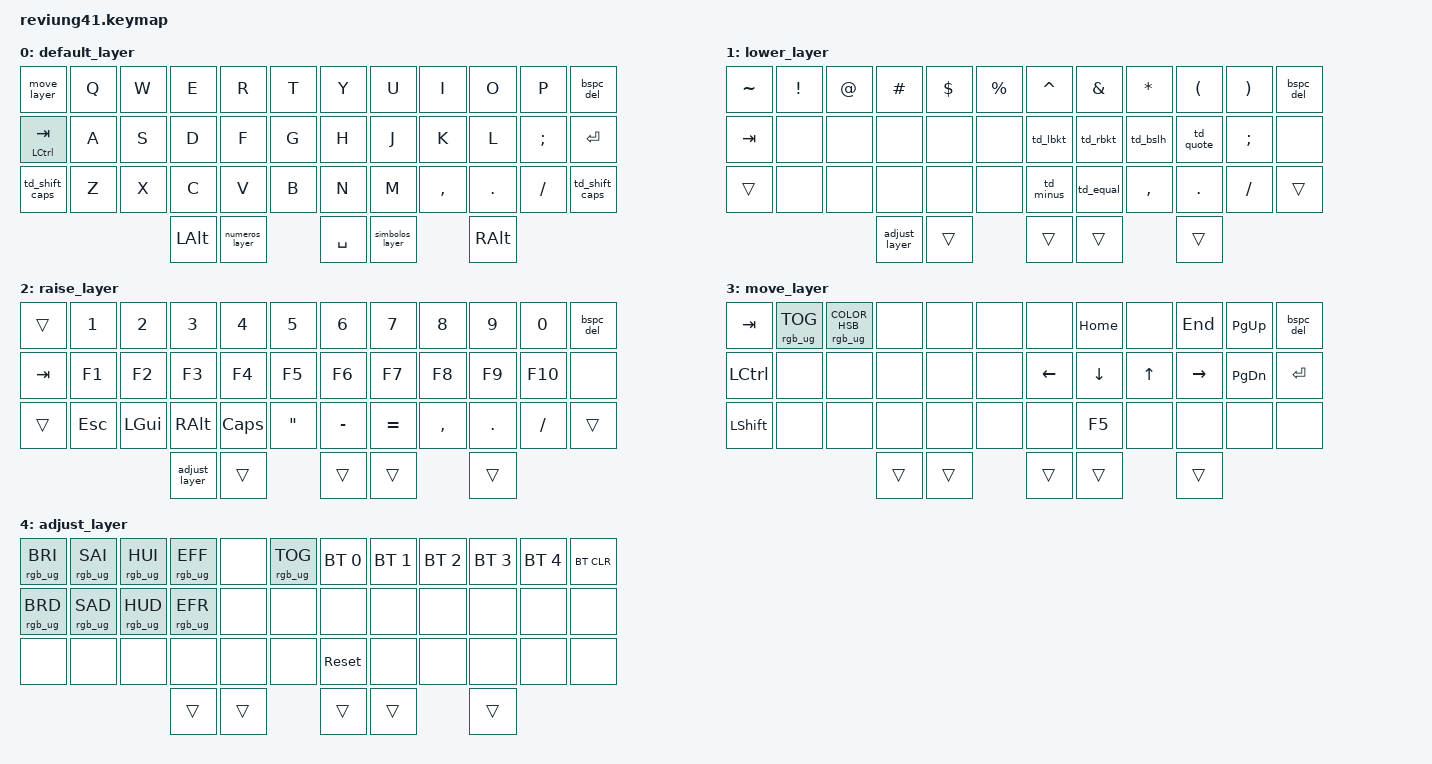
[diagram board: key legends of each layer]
/*
 * Copyright (c) 2020 The ZMK Contributors
 *
 * SPDX-License-Identifier: MIT
 */

#include <behaviors.dtsi>
#include <dt-bindings/zmk/keys.h>
#include <dt-bindings/zmk/bt.h>
#include <dt-bindings/zmk/rgb.h>

#define DEFAULT 0
#define SYMBOL  1
#define NUMBER  2
#define MOVE    3
#define ADJUST  4


/ {

 macros {
        simbolos_layer: simbolos_layer {
            compatible = "zmk,behavior-macro";
            #binding-cells = <0>;
            bindings =
                <&macro_press>,
                <&mo 1>,
                <&macro_tap>,
                <&rgb_ug RGB_ON &rgb_ug RGB_COLOR_HSB(240,100,100)>,
                <&macro_pause_for_release>,
                <&macro_release>,
                <&mo 1>,
                <&macro_tap>,
                <&rgb_ug RGB_OFF>;

            label = "LOWER_LAYER";
        };

        numeros_layer: raise_layer {
            compatible = "zmk,behavior-macro";
            #binding-cells = <0>;
            bindings =
                <&macro_press>,
                <&mo 2>,
                <&macro_tap>,
                <&rgb_ug RGB_ON &rgb_ug RGB_COLOR_HSB(0,100,100)>,
                <&macro_pause_for_release>,
                <&macro_release>,
                <&mo 2>,
                <&macro_tap>,
                <&rgb_ug RGB_OFF>;

            label = "RAISE_LAYER";
        };

        adjust_layer: adjust_layer {
            compatible = "zmk,behavior-macro";
            #binding-cells = <0>;
            bindings =
                <&macro_press>,
                <&mo 4>,
                <&macro_tap>,
                <&rgb_ug RGB_ON &rgb_ug RGB_COLOR_HSB(285,100,80)>,
                <&macro_pause_for_release>,
                <&macro_release>,
                <&mo 4>,
                <&macro_tap>,
                <&rgb_ug RGB_OFF>;

            label = "ADJUST_LAYER";
        };

        move_layer: move_layer {
            compatible = "zmk,behavior-macro";
            #binding-cells = <0>;
            bindings =
                <&macro_press>,
                <&tog 3 &rgb_ug RGB_ON &rgb_ug RGB_COLOR_HSB(0,0,100)>,
                <&macro_pause_for_release>,
                <&macro_release>,
                <&mo 3>,
                <&macro_tap>,
                <&rgb_ug RGB_OFF>;

            label = "MOVE_LAYER";
        };
        shift_con_led: shift_con_led {
            compatible = "zmk,behavior-macro";
            #binding-cells = <0>;
            bindings
                =  <&macro_press>,
                <&kp LSHIFT &rgb_ug RGB_ON &rgb_ug RGB_COLOR_HSB(128,100,100)>,
                <&macro_pause_for_release>,
                <&macro_release>,
                <&kp LSHIFT>,
                <&macro_tap>,
                <&rgb_ug RGB_OFF>;
                
        };
        CAPS_con_led: CAPS_con_led {
            compatible = "zmk,behavior-macro";
            #binding-cells = <0>;
            bindings
                =  <&macro_press>,
                <&kp CAPS &rgb_ug RGB_ON &rgb_ug RGB_COLOR_HSB(128,100,100)>,
                <&macro_pause_for_release>,
                <&macro_release>,
                <&kp CAPS>,
                <&macro_tap>,
                <&rgb_ug RGB_OFF>;
                
        };
    };
    /* === 2. Keymap === */

        keymap {
                compatible = "zmk,keymap";

                default_layer {
                        bindings = <
   &move_layer   &kp Q &kp W &kp E &kp R &kp T   &kp Y &kp U  &kp I     &kp O   &kp P    &bspc_del
   &mt LCTRL TAB  &kp A &kp S &kp D &kp F &kp G   &kp H &kp J  &kp K     &kp L   &kp SEMI &kp RET
   &td_shift_caps &kp Z &kp X &kp C &kp V &kp B   &kp N &kp M  &kp COMMA &kp DOT &kp FSLH &td_shift_caps
                        &kp LALT &numeros_layer &kp SPACE &simbolos_layer &kp RALT
                        >;
                };

                lower_layer {
                        bindings = <
   &kp TILDE  &kp EXCL  &kp AT      &kp HASH &kp DLLR &kp PRCNT      &kp CARET  &kp AMPS  &kp ASTRK  &kp LPAR            &kp RPAR  &bspc_del
   &kp TAB    &none     &none       &none    &none    &none          &td_lbkt &td_rbkt    &td_bslh   &td_quote           &kp SEMI  &none 
   &trans     &none     &none       &none    &none    &none          &td_minus  &td_equal &kp COMMA  &kp DOT             &kp SLASH &trans   
                                 &adjust_layer   &trans              &trans        &trans       &trans
                        >;
                };

                raise_layer {
                        bindings = <
   &trans  &kp N1    &kp N2    &kp N3    &kp N4    &kp N5        &kp N6    &kp N7    &kp N8      &kp N9  &kp N0    &bspc_del
   &kp TAB &kp F1    &kp F2    &kp F3    &kp F4    &kp F5        &kp F6    &kp F7    &kp F8      &kp F9  &kp F10   &none
   &trans  &kp ESC   &kp LGUI  &kp RALT  &kp CLCK  &kp DQT       &kp MINUS  &kp EQUAL &kp COMMA  &kp DOT &kp SLASH &trans 
                                 &adjust_layer      &trans       &trans        &trans       &trans
                        >;
                };

                move_layer {
                        bindings = <
   &kp TAB    &rgb_ug RGB_TOG   &rgb_ug RGB_COLOR_HSB(128,100,100)  &none  &none   &none  &none            &kp HOME          &none             &kp END               &kp PAGE_UP          &bspc_del
   &kp LCTRL   &none             &none    &none   &none   &none                             &kp LEFT_ARROW  &kp DOWN_ARROW     &kp UP_ARROW      &kp RIGHT_ARROW       &kp PAGE_DOWN         &kp ENTER
   &kp LSHFT  &none             &none    &none   &none   &none                               &none            &kp F5            &none             &none                 &none                 &none
                                 &trans      &trans       &trans        &trans       &trans
                        >;
                };
                adjust_layer {
                        bindings = <
   &rgb_ug RGB_BRI &rgb_ug RGB_SAI &rgb_ug RGB_HUI &rgb_ug RGB_EFF &none &rgb_ug RGB_TOG    &bt BT_SEL 0 &bt BT_SEL 1 &bt BT_SEL 2 &bt BT_SEL 3 &bt BT_SEL 4 &bt BT_CLR
   &rgb_ug RGB_BRD &rgb_ug RGB_SAD &rgb_ug RGB_HUD &rgb_ug RGB_EFR &none &none              &none        &none        &none        &none        &none        &none
   &none           &none           &none           &none           &none &none              &sys_reset       &none        &none        &none        &none        &none
                                                              &trans      &trans       &trans        &trans       &trans
                        >;
                };
        };

    behaviors {
        td_shift_caps: tap_dance_0 {
            compatible = "zmk,behavior-tap-dance";
            #binding-cells = <0>;
            tapping-term-ms = <250>;
            bindings = <&shift_con_led>, <&CAPS_con_led>;
        };
        td_shift_caps_word: tap_dance_1 {
            compatible = "zmk,behavior-tap-dance";
            #binding-cells = <0>;
            tapping-term-ms = <250>;
            bindings = <&kp LSHFT>, <&caps_word>;
        };
        td_minus: tap_dance_2 {
            compatible = "zmk,behavior-tap-dance";
            #binding-cells = <0>;
            tapping-term-ms = <250>;
            bindings = <&kp UNDERSCORE>, <&kp MINUS>;
        };
        td_quote: tap_dance_3 {
            compatible = "zmk,behavior-tap-dance";
            #binding-cells = <0>;
            tapping-term-ms = <250>;
            bindings = <&kp SQT>, <&kp DQT>;
        };
        td_lbkt: tap_dance_4 {
            compatible = "zmk,behavior-tap-dance";
            #binding-cells = <0>;
            tapping-term-ms = <250>;
            bindings = <&kp LBKT>, <&kp LBRC>;
        };
        td_rbkt: tap_dance_5 {
            compatible = "zmk,behavior-tap-dance";
            #binding-cells = <0>;
            tapping-term-ms = <250>;
            bindings = <&kp RBKT>, <&kp RBRC>;
        };
        td_bslh: tap_dance_6 {
            compatible = "zmk,behavior-tap-dance";
            #binding-cells = <0>;
            tapping-term-ms = <250>;
            bindings = <&kp BSLH>, <&kp PIPE>;
        };
        td_equal: tap_dance_7 {
            compatible = "zmk,behavior-tap-dance";
            #binding-cells = <0>;
            tapping-term-ms = <250>;
            bindings = <&kp EQUAL>, <&kp PLUS>;
        };
        bspc_del: backspace_delete {
            compatible = "zmk,behavior-mod-morph";
            #binding-cells = <0>;
            bindings = <&kp BACKSPACE>, <&kp DELETE>;
            mods = <(MOD_LSFT|MOD_RSFT)>;
            keep-mods = <(MOD_RSFT)>;
        };
    };

};
/****************

 HSV_AZURE       132, 102, 255
# HSV_BLACK         0,   0,   0
# HSV_BLUE        170, 255, 255
# HSV_CHARTREUSE   64, 255, 255
# HSV_CORAL        11, 176, 255
# HSV_CYAN        128, 255, 255
# HSV_GOLD         36, 255, 255
# HSV_GOLDENROD    30, 218, 218
# HSV_GREEN        85, 255, 255
# HSV_MAGENTA     213, 255, 255
# HSV_ORANGE       28, 255, 255
# HSV_PINK        234, 128, 255
# HSV_PURPLE      191, 255, 255
# HSV_RED           0, 255, 255
# HSV_SPRINGGREEN 106, 255, 255
# HSV_TEAL        128, 255, 128
# HSV_TURQUOISE   123,  90, 112
# HSV_WHITE         0,   0, 255
# HSV_YELLOW       43, 255, 255
# HSV_OFF         HSV_BLACK

**********************/
